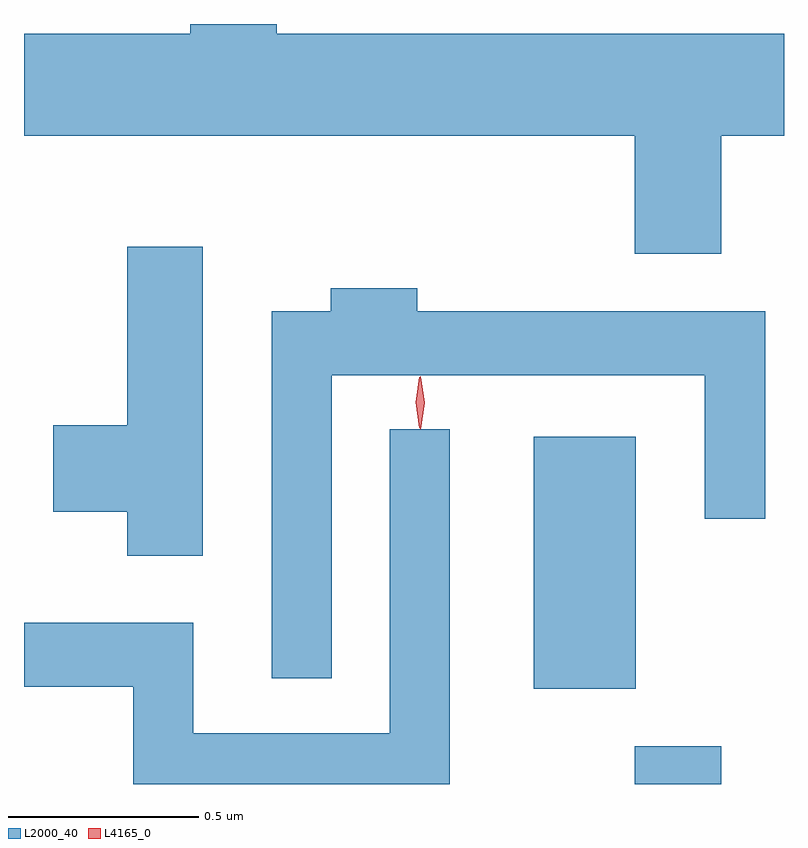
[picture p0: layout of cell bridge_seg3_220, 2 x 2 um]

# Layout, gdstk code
import gdstk
lib = gdstk.Library(unit=1e-6, precision=1e-09)
def R(c, l, rs):  # rectangles x0, y0, x1, y1
    for r in rs: c.add(gdstk.rectangle(r[:2], r[2:], *l))
def P(c, l, *ps):  # polygons
    for p in ps: c.add(gdstk.Polygon(p, *l))
L2000_40 = (2000, 40)
L4165_0 = (4165, 0)

bridge_seg3_220 = lib.new_cell('bridge_seg3_220')
R(bridge_seg3_220, L2000_40, [(930.361,1155.39,930.589,1155.489), (930.096,1155.641,930.364,1156.304)])
P(bridge_seg3_220, L2000_40, [(930.589,1157.096),(930.754,1157.096),(930.754,1157.364),(929.419,1157.364),(929.419,1157.39),(929.191,1157.39),(929.191,1157.364),(928.754,1157.364),(928.754,1157.096),(930.361,1157.096),(930.361,1156.786),(930.589,1156.786)],
  [(929.224,1156.804),(929.026,1156.804),(929.026,1156.334),(928.831,1156.334),(928.831,1156.106),(929.026,1156.106),(929.026,1155.991),(929.224,1155.991)],
  [(929.564,1156.466),(930.546,1156.466),(930.546,1156.088),(930.704,1156.088),(930.704,1156.634),(929.789,1156.634),(929.789,1156.694),(929.561,1156.694),(929.561,1156.634),(929.406,1156.634),(929.406,1155.668),(929.564,1155.668)],
  [(929.874,1156.323),(929.716,1156.323),(929.716,1155.524),(929.199,1155.524),(929.199,1155.814),(928.754,1155.814),(928.754,1155.646),(929.041,1155.646),(929.041,1155.39),(929.874,1155.39)])
P(bridge_seg3_220, L4165_0, [(929.798,1156.323),(929.797,1156.324),(929.788,1156.393),(929.797,1156.462),(929.798,1156.463),(929.798,1156.462),(929.808,1156.393),(929.798,1156.324)],
  [(929.795,1156.327),(929.794,1156.328),(929.785,1156.394),(929.794,1156.46),(929.795,1156.461),(929.796,1156.46),(929.805,1156.394),(929.796,1156.328)])

lib.write_gds('bridge_seg3_220.gds')
